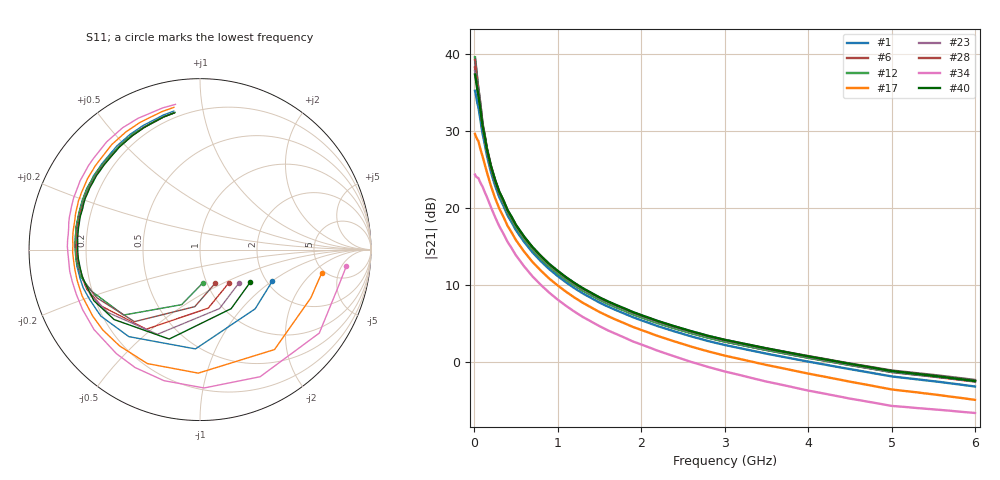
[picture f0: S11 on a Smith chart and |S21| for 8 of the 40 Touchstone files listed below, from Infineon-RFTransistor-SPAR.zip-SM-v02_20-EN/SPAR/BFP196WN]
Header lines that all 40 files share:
! Infineon Technologies  Discrete & RF Semiconductors
! BFP196WN
! Common Emitter S-Parameters:  Jan 2017
# GHz  S  MA  R  50
!  f  S11  S21  S12  S22
! GHz  MAG  ANG  MAG  ANG  MAG  ANG  MAG  ANG
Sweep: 10 MHz to 6 GHz
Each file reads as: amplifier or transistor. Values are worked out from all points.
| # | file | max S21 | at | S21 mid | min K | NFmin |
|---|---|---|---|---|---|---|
| 1 | BFP196WN_w_noise_VCE_5.0V_IC_25mA.s2p | 35.2 dB | 10 MHz | 4.7 dB at 2.2 GHz | 0.07 | 1.00 dB |
| 2 | BFP196WN_w_noise_VCE_5.0V_IC_30mA.s2p | 36.1 dB | 10 MHz | 4.8 dB at 2.2 GHz | 0.10 | 1.06 dB |
| 3 | BFP196WN_w_noise_VCE_5.0V_IC_35mA.s2p | 36.8 dB | 10 MHz | 4.9 dB at 2.2 GHz | 0.10 | 1.11 dB |
| 4 | BFP196WN_w_noise_VCE_5.0V_IC_40mA.s2p | 37.4 dB | 10 MHz | 5.0 dB at 2.2 GHz | 0.13 | 1.16 dB |
| 5 | BFP196WN_w_noise_VCE_5.0V_IC_45mA.s2p | 37.9 dB | 10 MHz | 5.1 dB at 2.2 GHz | 0.14 | 1.22 dB |
| 6 | BFP196WN_w_noise_VCE_5.0V_IC_50mA.s2p | 38.2 dB | 10 MHz | 5.1 dB at 2.2 GHz | 0.16 | 1.27 dB |
| 7 | BFP196WN_w_noise_VCE_5.0V_IC_55mA.s2p | 38.6 dB | 10 MHz | 5.1 dB at 2.2 GHz | 0.18 | 1.34 dB |
| 8 | BFP196WN_w_noise_VCE_5.0V_IC_60mA.s2p | 38.8 dB | 10 MHz | 5.1 dB at 2.2 GHz | 0.18 | 1.38 dB |
| 9 | BFP196WN_w_noise_VCE_5.0V_IC_65mA.s2p | 39.1 dB | 10 MHz | 5.1 dB at 2.2 GHz | 0.20 | 1.43 dB |
| 10 | BFP196WN_w_noise_VCE_5.0V_IC_70mA.s2p | 39.3 dB | 10 MHz | 5.1 dB at 2.2 GHz | 0.21 | 1.47 dB |
| 11 | BFP196WN_w_noise_VCE_5.0V_IC_75mA.s2p | 39.4 dB | 10 MHz | 5.1 dB at 2.2 GHz | 0.23 | 1.53 dB |
| 12 | BFP196WN_w_noise_VCE_5.0V_IC_80mA.s2p | 39.6 dB | 10 MHz | 5.1 dB at 2.2 GHz | 0.24 | 1.58 dB |
| 13 | BFP196WN_w_noise_VCE_5.0V_IC_85mA.s2p | 39.7 dB | 10 MHz | 5.0 dB at 2.2 GHz | 0.25 | 1.64 dB |
| 14 | BFP196WN_w_noise_VCE_5.0V_IC_90mA.s2p | 39.8 dB | 10 MHz | 5.0 dB at 2.2 GHz | 0.27 | 1.69 dB |
| 15 | BFP196WN_w_noise_VCE_6.0V_IC_0.10A.s2p | 39.9 dB | 10 MHz | 5.0 dB at 2.2 GHz | 0.28 | 1.80 dB |
| 16 | BFP196WN_w_noise_VCE_6.0V_IC_5.0mA.s2p | 24.5 dB | 10 MHz | 1.4 dB at 2.2 GHz | -0.02 | 1.08 dB |
| 17 | BFP196WN_w_noise_VCE_6.0V_IC_10mA.s2p | 29.6 dB | 10 MHz | 3.4 dB at 2.2 GHz | 0.02 | 0.92 dB |
| 18 | BFP196WN_w_noise_VCE_6.0V_IC_20mA.s2p | 34.0 dB | 10 MHz | 4.6 dB at 2.2 GHz | 0.03 | 0.96 dB |
| 19 | BFP196WN_w_noise_VCE_6.0V_IC_25mA.s2p | 35.2 dB | 10 MHz | 4.8 dB at 2.2 GHz | 0.06 | 1.00 dB |
| 20 | BFP196WN_w_noise_VCE_6.0V_IC_30mA.s2p | 36.1 dB | 10 MHz | 5.0 dB at 2.2 GHz | 0.11 | 1.06 dB |
| 21 | BFP196WN_w_noise_VCE_6.0V_IC_35mA.s2p | 36.8 dB | 10 MHz | 5.1 dB at 2.2 GHz | 0.11 | 1.11 dB |
| 22 | BFP196WN_w_noise_VCE_6.0V_IC_40mA.s2p | 37.4 dB | 10 MHz | 5.2 dB at 2.2 GHz | 0.11 | 1.16 dB |
| 23 | BFP196WN_w_noise_VCE_6.0V_IC_45mA.s2p | 37.8 dB | 10 MHz | 5.2 dB at 2.2 GHz | 0.14 | 1.22 dB |
| 24 | BFP196WN_w_noise_VCE_6.0V_IC_50mA.s2p | 38.2 dB | 10 MHz | 5.3 dB at 2.2 GHz | 0.16 | 1.27 dB |
| 25 | BFP196WN_w_noise_VCE_6.0V_IC_55mA.s2p | 38.6 dB | 10 MHz | 5.3 dB at 2.2 GHz | 0.16 | 1.34 dB |
| 26 | BFP196WN_w_noise_VCE_6.0V_IC_60mA.s2p | 38.8 dB | 10 MHz | 5.3 dB at 2.2 GHz | 0.17 | 1.38 dB |
| 27 | BFP196WN_w_noise_VCE_6.0V_IC_65mA.s2p | 39.0 dB | 10 MHz | 5.3 dB at 2.2 GHz | 0.20 | 1.43 dB |
| 28 | BFP196WN_w_noise_VCE_6.0V_IC_70mA.s2p | 39.3 dB | 10 MHz | 5.3 dB at 2.2 GHz | 0.21 | 1.47 dB |
| 29 | BFP196WN_w_noise_VCE_6.0V_IC_75mA.s2p | 39.4 dB | 10 MHz | 5.3 dB at 2.2 GHz | 0.21 | 1.53 dB |
| 30 | BFP196WN_w_noise_VCE_6.0V_IC_80mA.s2p | 39.6 dB | 10 MHz | 5.2 dB at 2.2 GHz | 0.23 | 1.58 dB |
| 31 | BFP196WN_w_noise_VCE_6.0V_IC_85mA.s2p | 39.7 dB | 10 MHz | 5.2 dB at 2.2 GHz | 0.24 | 1.64 dB |
| 32 | BFP196WN_w_noise_VCE_6.0V_IC_90mA.s2p | 39.8 dB | 10 MHz | 5.2 dB at 2.2 GHz | 0.26 | 1.69 dB |
| 33 | BFP196WN_w_noise_VCE_7.0V_IC_0.10A.s2p | 39.9 dB | 10 MHz | 5.2 dB at 2.2 GHz | 0.27 | 1.80 dB |
| 34 | BFP196WN_w_noise_VCE_7.0V_IC_5.0mA.s2p | 24.4 dB | 10 MHz | 1.5 dB at 2.2 GHz | -0.04 | 1.08 dB |
| 35 | BFP196WN_w_noise_VCE_7.0V_IC_10mA.s2p | 29.6 dB | 10 MHz | 3.5 dB at 2.2 GHz | 0.03 | 0.92 dB |
| 36 | BFP196WN_w_noise_VCE_7.0V_IC_20mA.s2p | 34.0 dB | 10 MHz | 4.7 dB at 2.2 GHz | 0.07 | 0.96 dB |
| 37 | BFP196WN_w_noise_VCE_7.0V_IC_25mA.s2p | 35.2 dB | 10 MHz | 5.0 dB at 2.2 GHz | 0.07 | 1.00 dB |
| 38 | BFP196WN_w_noise_VCE_7.0V_IC_30mA.s2p | 36.1 dB | 10 MHz | 5.1 dB at 2.2 GHz | 0.07 | 1.06 dB |
| 39 | BFP196WN_w_noise_VCE_7.0V_IC_35mA.s2p | 36.8 dB | 10 MHz | 5.2 dB at 2.2 GHz | 0.11 | 1.11 dB |
| 40 | BFP196WN_w_noise_VCE_7.0V_IC_40mA.s2p | 37.3 dB | 10 MHz | 5.3 dB at 2.2 GHz | 0.13 | 1.16 dB |

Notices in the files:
Hoja de datos/BFP 450/Infineon-RFTransistor-SPAR.zip-SM-v02_20-EN/SPAR/BFP196WN/BFP196WN_w_noise_VCE_5.0V_IC_25mA.s2p:
(c) 2017  Infineon Technologies AG, Munich
